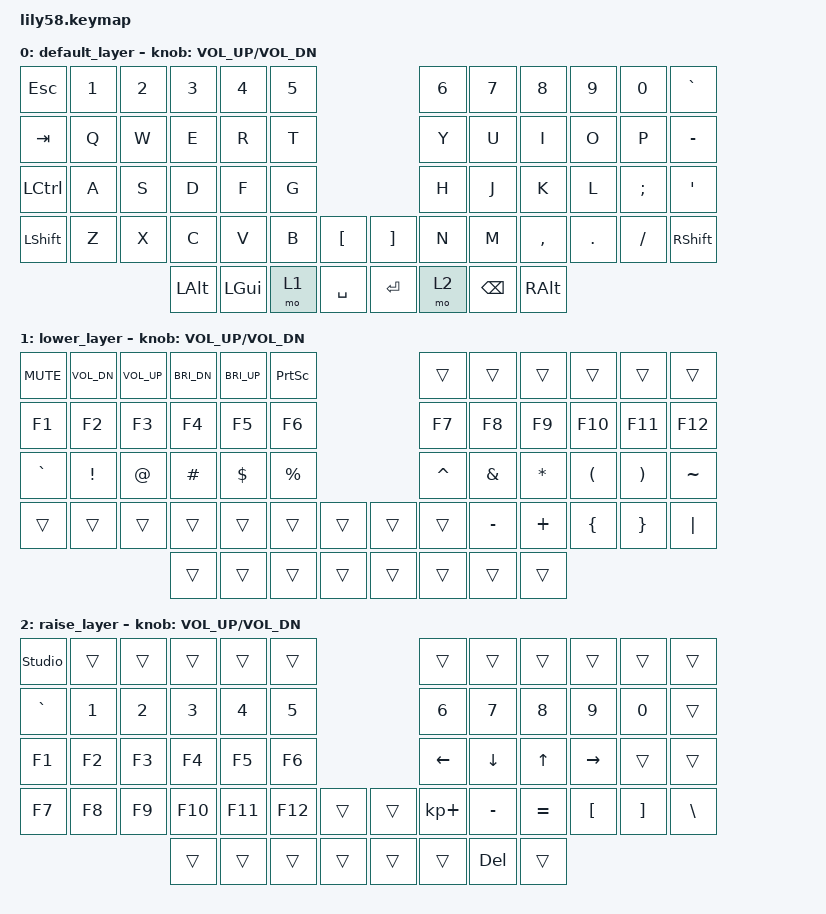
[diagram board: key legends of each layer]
/*
 * Copyright (c) 2020 The ZMK Contributors
 *
 * SPDX-License-Identifier: MIT
 */

#include <behaviors.dtsi>
#include <dt-bindings/zmk/keys.h>
#include <dt-bindings/zmk/bt.h>
#include <dt-bindings/zmk/ext_power.h>

/ {
    keymap {
        compatible = "zmk,keymap";

        default_layer {
// ------------------------------------------------------------------------------------------------------------
// |  ESC  |  1  |  2  |  3   |  4   |  5   |                   |  6   |  7    |  8    |  9   |   0   |   `   |
// |  TAB  |  Q  |  W  |  E   |  R   |  T   |                   |  Y   |  U    |  I    |  O   |   P   |   -   |
// |  CTRL |  A  |  S  |  D   |  F   |  G   |                   |  H   |  J    |  K    |  L   |   ;   |   '   |
// | SHIFT |  Z  |  X  |  C   |  V   |  B   |   "["  |  |  "]"  |  N   |  M    |  ,    |  .   |   /   | SHIFT |
//                     | ALT  | GUI  | LOWER|  SPACE |  | ENTER | RAISE| BSPC  | RALT  |
            bindings = <
&kp ESC   &kp N1 &kp N2 &kp N3   &kp N4   &kp N5                     &kp N6 &kp N7   &kp N8    &kp N9  &kp N0   &kp GRAVE
&kp TAB   &kp Q  &kp W  &kp E    &kp R    &kp T                      &kp Y  &kp U    &kp I     &kp O   &kp P    &kp MINUS
&kp LCTRL &kp A  &kp S  &kp D    &kp F    &kp G                      &kp H  &kp J    &kp K     &kp L   &kp SEMI &kp SQT
&kp LSHFT &kp Z  &kp X  &kp C    &kp V    &kp B  &kp LBKT   &kp RBKT &kp N  &kp M    &kp COMMA &kp DOT &kp FSLH &kp RSHFT
                        &kp LALT &kp LGUI &mo 1  &kp SPACE  &kp RET  &mo 2  &kp BSPC &kp RALT
            >;

            sensor-bindings = <&inc_dec_kp C_VOL_UP C_VOL_DN>;
        };

        lower_layer {
// ------------------------------------------------------------------------------------------------------------
// | MUTE  | VDN | VUP |  BDN |  BUP | PSCRN|                   |      |       |       |      |       |       |
// |  F1   |  F2 |  F3 |  F4  |  F5  |  F6  |                   |  F7  |  F8   |  F9   |  F10 |  F11  |  F12  |
// |   `   |  !  |  @  |  #   |  $   |  %   |                   |  ^   |  &    |  *    |  (   |   )   |   ~   |
// |       |     |     |      |      |      |        |  |       |      |  _    |  +    |  {   |   }   |  "|"  |
//                     |      |      |      |        |  |       |      |       |       |
            bindings = <
&kp C_MUTE &kp C_VOL_DN     &kp C_VOL_UP      &kp C_BRI_DN      &kp C_BRI_UP &kp PSCRN                    &trans       &trans    &trans    &trans    &trans    &trans
&kp F1     &kp F2           &kp F3            &kp F4            &kp F5       &kp F6                       &kp F7       &kp F8    &kp F9    &kp F10   &kp F11   &kp F12
&kp GRAVE  &kp EXCL         &kp AT            &kp HASH          &kp DOLLAR   &kp PRCNT                    &kp CARET    &kp AMPS  &kp ASTRK &kp LPAR  &kp RPAR  &kp TILDE
&trans     &trans           &trans            &trans            &trans       &trans    &trans   &trans    &trans       &kp MINUS &kp PLUS  &kp LBRC  &kp RBRC  &kp PIPE
                                              &trans            &trans       &trans    &trans   &trans    &trans       &trans    &trans
            >;

            sensor-bindings = <&inc_dec_kp C_VOL_UP C_VOL_DN>;
        };

        raise_layer {
// ------------------------------------------------------------------------------------------------------------
// |       |     |     |      |      |      |                   |      |       |       |      |       |       |
// |   `   |  1  |  2  |  3   |  4   |  5   |                   |  6   |   7   |   8   |  9   |   0   |       |
// |   F1  |  F2 |  F3 |  F4  |  F5  |  F6  |                   |      |   <-  |   v   |  ^   |  ->   |       |
// |   F7  |  F8 |  F9 |  F10 |  F11 |  F12 |        |  |       |  +   |   -   |   =   |  [   |   ]   |   \   |
//                     |      |      |      |        |  |       |      |  DEL  |       |
            bindings = <
&studio_unlock    &trans &trans &trans  &trans  &trans                       &trans      &trans    &trans    &trans    &trans    &trans
&kp GRAVE &kp N1 &kp N2 &kp N3  &kp N4  &kp N5                       &kp N6      &kp N7    &kp N8    &kp N9    &kp N0    &trans
&kp F1    &kp F2 &kp F3 &kp F4  &kp F5  &kp F6                       &kp LEFT    &kp DOWN  &kp UP    &kp RIGHT &trans    &trans
&kp F7    &kp F8 &kp F9 &kp F10 &kp F11 &kp F12   &trans   &trans    &kp KP_PLUS &kp MINUS &kp EQUAL &kp LBKT  &kp RBKT  &kp BSLH
                        &trans  &trans  &trans    &trans   &trans    &trans      &kp DEL   &trans
            >;

            sensor-bindings = <&inc_dec_kp C_VOL_UP C_VOL_DN>;
        };
    };
};
